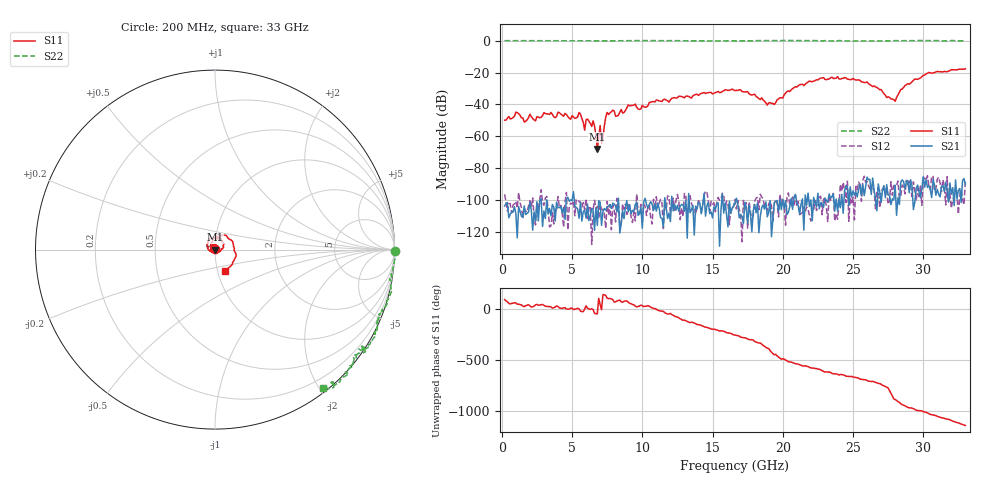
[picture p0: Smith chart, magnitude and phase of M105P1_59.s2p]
# GHZ S RI R 50
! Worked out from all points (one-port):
!   329 points, 200 MHz to 33 GHz, reference 50 ohm
!   lowest |S11| = -68.0 dB at 6.8 GHz (marker M1), VSWR 1.00, Z = 50 - j0.0307 ohm
!   |S11| at or under -10 dB: start of sweep to end of sweep
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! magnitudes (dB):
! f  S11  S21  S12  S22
! 200 MHz  -49.9  -103.9  -96.5  0.0
! 1 GHz  -44.9  -108.4  -100.8  0.0
! 1.6 GHz  -51.1  -103.7  -105.5  0.0
! 3 GHz  -45.2  -106.9  -103.3  0.0
! 5.7 GHz  -48.7  -113.3  -104.5  -0.1
! 5.9 GHz  -56.2  -106.3  -106.0  -0.1
! 6 GHz  -49.7  -111.4  -99.4  0.0
! 6.5 GHz  -50.3  -106.0  -106.2  0.0
! 6.8 GHz  -68.0  -116.0  -104.2  -0.1
! 7 GHz  -53.3  -101.3  -102.6  -0.1
! 7.1 GHz  -64.1  -116.0  -106.0  -0.1
! 7.5 GHz  -45.1  -104.6  -101.0  -0.1
! 11.2 GHz  -37.9  -105.2  -101.9  0.0
! 16.6 GHz  -31.4  -102.0  -99.8  -0.1
! 19.4 GHz  -40.1  -101.8  -101.9  0.0
! 22.1 GHz  -25.7  -113.2  -106.2  0.1
! 25 GHz  -23.7  -94.3  -98.4  -0.2
! 27.6 GHz  -35.7  -97.1  -100.6  0.0
! 28 GHz  -38.0  -90.6  -91.6  0.0
! 28.7 GHz  -28.2  -93.1  -96.2  0.0
! 30.4 GHz  -19.9  -90.9  -91.3  0.1
! 33 GHz  -17.7  -90.4  -88.4  -0.2
